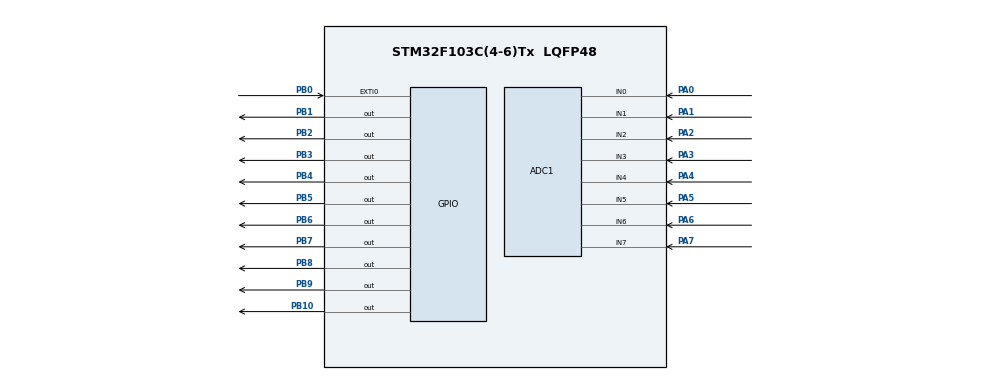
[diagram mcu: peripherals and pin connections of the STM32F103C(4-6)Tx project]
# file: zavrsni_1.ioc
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ADC1.Channel-0\#ChannelRegularConversion=ADC_CHANNEL_0
ADC1.ContinuousConvMode=ENABLE
ADC1.NbrOfConversionFlag=1
ADC1.Rank-0\#ChannelRegularConversion=1
ADC1.SamplingTime-0\#ChannelRegularConversion=ADC_SAMPLETIME_1CYCLE_5
ADC1.master=1
Mcu.Family=STM32F1
Mcu.Name=STM32F103C(4-6)Tx
Mcu.Package=LQFP48
NVIC.EXTI0_IRQn=true\:0\:0\:false\:false\:true\:true\:true
NVIC.PriorityGroup=NVIC_PRIORITYGROUP_4
PA0-WKUP.Signal=ADCx_IN0
PA1.Signal=ADCx_IN1
PA2.Signal=ADCx_IN2
PA3.Signal=ADCx_IN3
PA4.Signal=ADCx_IN4
PA5.Signal=ADCx_IN5
PA6.Signal=ADCx_IN6
PA7.Signal=ADCx_IN7
PB0.GPIO_ModeDefaultEXTI=GPIO_MODE_IT_FALLING
PB0.Signal=GPXTI0
PB1.Signal=GPIO_Output
PB10.Signal=GPIO_Output
PB2.Signal=GPIO_Output
PB3.Signal=GPIO_Output
PB4.Signal=GPIO_Output
PB5.Signal=GPIO_Output
PB6.Signal=GPIO_Output
PB7.Signal=GPIO_Output
PB8.Signal=GPIO_Output
PB9.Signal=GPIO_Output
ProjectManager.HeapSize=0x200
ProjectManager.StackSize=0x400
ProjectManager.TargetToolchain=STM32CubeIDE
RCC.APB1Freq_Value=8000000
RCC.APB2Freq_Value=8000000
SH.ADCx_IN0.0=ADC1_IN0,IN0
SH.ADCx_IN1.0=ADC1_IN1,IN1
SH.ADCx_IN2.0=ADC1_IN2,IN2
SH.ADCx_IN3.0=ADC1_IN3,IN3
SH.ADCx_IN4.0=ADC1_IN4,IN4
SH.ADCx_IN5.0=ADC1_IN5,IN5
SH.ADCx_IN6.0=ADC1_IN6,IN6
SH.ADCx_IN7.0=ADC1_IN7,IN7
VP_SYS_VS_ND.Mode=No_Debug
board=custom

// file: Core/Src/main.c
/* USER CODE BEGIN Header */
/**
  ******************************************************************************
  * @file           : main.c
  * @brief          : Main program body
  ******************************************************************************
  * @attention
  *
  * <h2><center>&copy; Copyright (c) 2023 STMicroelectronics.
  * All rights reserved.</center></h2>
  *
  * This software component is licensed by ST under BSD 3-Clause license,
  * the "License"; You may not use this file except in compliance with the
  * License. You may obtain a copy of the License at:
  *                        opensource.org/licenses/BSD-3-Clause
  *
  ******************************************************************************
  */
/* USER CODE END Header */

#include "main.h"
#include "stdio.h"

ADC_HandleTypeDef hadc1;
uint8_t channel = 0;
int ceo,ostCeo;
float ost;

void SystemClock_Config(void);
static void MX_GPIO_Init(void);
static void MX_ADC1_Init(void);

/* USER CODE BEGIN 0 */
void LCD(uint8_t value, uint8_t command)
{
	uint8_t data;

	HAL_GPIO_WritePin(GPIOB, GPIO_PIN_8, command);

	data = value & 0x01;
	HAL_GPIO_WritePin(GPIOB, GPIO_PIN_10, data);

	data = (value >> 1) & 0x01;
	HAL_GPIO_WritePin(GPIOB, GPIO_PIN_1, data);

	data = (value >> 2) & 0x01;
	HAL_GPIO_WritePin(GPIOB, GPIO_PIN_2, data);

	data = (value >> 3) & 0x01;
	HAL_GPIO_WritePin(GPIOB, GPIO_PIN_3, data);

	data = (value >> 4) & 0x01;
	HAL_GPIO_WritePin(GPIOB, GPIO_PIN_4, data);

	data = (value >> 5) & 0x01;
	HAL_GPIO_WritePin(GPIOB, GPIO_PIN_5, data);

	data = (value >> 6) & 0x01;
	HAL_GPIO_WritePin(GPIOB, GPIO_PIN_6, data);

	data = (value >> 7) & 0x01;
	HAL_GPIO_WritePin(GPIOB, GPIO_PIN_7, data);

	HAL_GPIO_WritePin(GPIOB, GPIO_PIN_9, GPIO_PIN_SET);
	HAL_Delay(50);
	HAL_GPIO_WritePin(GPIOB, GPIO_PIN_9, GPIO_PIN_RESET);
}

void clearLCD()
{
	LCD(0x38,0);
	LCD(0x0C,0);
	LCD(0x06,0);
	LCD(0x01,0);
	LCD(0x80,0);
}

void updateLCD()
{
	clearLCD();
    char buffer[16];
    if (channel == 1) sprintf(buffer, "Ch 1: %d.%d", ceo,ostCeo);
    if (channel == 0) sprintf(buffer, "Press the button");
    if (channel > 1) sprintf(buffer, "Channel %u",channel);
    LCD(0x01, 0);
    for (int i = 0; buffer[i]; i++) {
        LCD(buffer[i], 1);
    }
}

void HAL_GPIO_EXTI_Callback(uint16_t GPIO_Pin)
{
	if (GPIO_Pin == GPIO_PIN_0)
	{
		if (channel == 8) channel = 0;
		if (channel < 8) channel = channel+1;
	}
}

/* USER CODE END 0 */

int main(void)
{

  /* MCU Configuration--------------------------------------------------------*/

  /* Reset of all peripherals, Initializes the Flash interface and the Systick. */
  HAL_Init();

  /* Configure the system clock */
  SystemClock_Config();

  /* Initialize all configured peripherals */
  MX_GPIO_Init();
  MX_ADC1_Init();
  /* USER CODE BEGIN 2 */
  updateLCD();
  /* USER CODE END 2 */

  /* Infinite loop */
  while (1)
  {
	  if (channel == 1) {
		  HAL_ADC_Start(&hadc1);
		  HAL_ADC_PollForConversion(&hadc1, HAL_MAX_DELAY);
		  float adc_raw = HAL_ADC_GetValue(&hadc1);
		  HAL_ADC_Stop(&hadc1);

		  float adc_value = (adc_raw * 1000) / 4095;

		  ceo=adc_value;
		  ost=adc_value-ceo;
		  ostCeo=ost*1000000;
	  }
	  updateLCD();
	  HAL_Delay(500);
  }
}

void SystemClock_Config(void)
{
  RCC_OscInitTypeDef RCC_OscInitStruct = {0};
  RCC_ClkInitTypeDef RCC_ClkInitStruct = {0};
  RCC_PeriphCLKInitTypeDef PeriphClkInit = {0};

  /** Initializes the CPU, AHB and APB busses clocks
  */
  RCC_OscInitStruct.OscillatorType = RCC_OSCILLATORTYPE_HSI;
  RCC_OscInitStruct.HSIState = RCC_HSI_ON;
  RCC_OscInitStruct.HSICalibrationValue = RCC_HSICALIBRATION_DEFAULT;
  RCC_OscInitStruct.PLL.PLLState = RCC_PLL_NONE;
  if (HAL_RCC_OscConfig(&RCC_OscInitStruct) != HAL_OK)
  {
    Error_Handler();
  }
  /** Initializes the CPU, AHB and APB busses clocks
  */
  RCC_ClkInitStruct.ClockType = RCC_CLOCKTYPE_HCLK|RCC_CLOCKTYPE_SYSCLK
                              |RCC_CLOCKTYPE_PCLK1|RCC_CLOCKTYPE_PCLK2;
  RCC_ClkInitStruct.SYSCLKSource = RCC_SYSCLKSOURCE_HSI;
  RCC_ClkInitStruct.AHBCLKDivider = RCC_SYSCLK_DIV1;
  RCC_ClkInitStruct.APB1CLKDivider = RCC_HCLK_DIV1;
  RCC_ClkInitStruct.APB2CLKDivider = RCC_HCLK_DIV1;

  if (HAL_RCC_ClockConfig(&RCC_ClkInitStruct, FLASH_LATENCY_0) != HAL_OK)
  {
    Error_Handler();
  }
  PeriphClkInit.PeriphClockSelection = RCC_PERIPHCLK_ADC;
  PeriphClkInit.AdcClockSelection = RCC_ADCPCLK2_DIV2;
  if (HAL_RCCEx_PeriphCLKConfig(&PeriphClkInit) != HAL_OK)
  {
    Error_Handler();
  }
}

static void MX_ADC1_Init(void)
{

  ADC_ChannelConfTypeDef sConfig = {0};

  /** Common config
  */
  hadc1.Instance = ADC1;
  hadc1.Init.ScanConvMode = ADC_SCAN_DISABLE;
  hadc1.Init.ContinuousConvMode = ENABLE;
  hadc1.Init.DiscontinuousConvMode = DISABLE;
  hadc1.Init.ExternalTrigConv = ADC_SOFTWARE_START;
  hadc1.Init.DataAlign = ADC_DATAALIGN_RIGHT;
  hadc1.Init.NbrOfConversion = 1;
  if (HAL_ADC_Init(&hadc1) != HAL_OK)
  {
    Error_Handler();
  }
  /** Configure Regular Channel
  */
  sConfig.Channel = ADC_CHANNEL_0;
  sConfig.Rank = ADC_REGULAR_RANK_1;
  sConfig.SamplingTime = ADC_SAMPLETIME_1CYCLE_5;
  if (HAL_ADC_ConfigChannel(&hadc1, &sConfig) != HAL_OK)
  {
    Error_Handler();
  }

}

static void MX_GPIO_Init(void)
{
  GPIO_InitTypeDef GPIO_InitStruct = {0};

  /* GPIO Ports Clock Enable */
  __HAL_RCC_GPIOA_CLK_ENABLE();
  __HAL_RCC_GPIOB_CLK_ENABLE();

  /*Configure GPIO pin Output Level */
  HAL_GPIO_WritePin(GPIOB, GPIO_PIN_1|GPIO_PIN_2|GPIO_PIN_10|GPIO_PIN_3
                          |GPIO_PIN_4|GPIO_PIN_5|GPIO_PIN_6|GPIO_PIN_7
                          |GPIO_PIN_8|GPIO_PIN_9, GPIO_PIN_RESET);

  /*Configure GPIO pin : PB0 */
  GPIO_InitStruct.Pin = GPIO_PIN_0;
  GPIO_InitStruct.Mode = GPIO_MODE_IT_FALLING;
  GPIO_InitStruct.Pull = GPIO_NOPULL;
  HAL_GPIO_Init(GPIOB, &GPIO_InitStruct);

  /*Configure GPIO pins : PB1 PB2 PB10 PB3
                           PB4 PB5 PB6 PB7
                           PB8 PB9 */
  GPIO_InitStruct.Pin = GPIO_PIN_1|GPIO_PIN_2|GPIO_PIN_10|GPIO_PIN_3
                          |GPIO_PIN_4|GPIO_PIN_5|GPIO_PIN_6|GPIO_PIN_7
                          |GPIO_PIN_8|GPIO_PIN_9;
  GPIO_InitStruct.Mode = GPIO_MODE_OUTPUT_PP;
  GPIO_InitStruct.Pull = GPIO_NOPULL;
  GPIO_InitStruct.Speed = GPIO_SPEED_FREQ_LOW;
  HAL_GPIO_Init(GPIOB, &GPIO_InitStruct);

  /* EXTI interrupt init*/
  HAL_NVIC_SetPriority(EXTI0_IRQn, 0, 0);
  HAL_NVIC_EnableIRQ(EXTI0_IRQn);

}

void Error_Handler(void)
{
}

/************************ (C) COPYRIGHT STMicroelectronics *****END OF FILE****/
